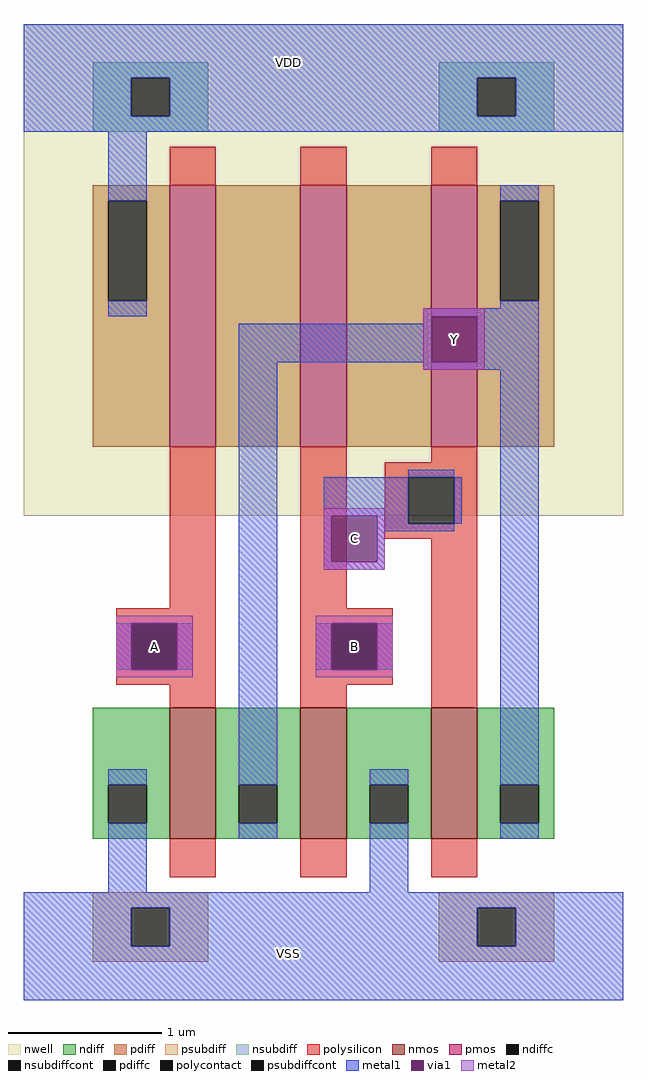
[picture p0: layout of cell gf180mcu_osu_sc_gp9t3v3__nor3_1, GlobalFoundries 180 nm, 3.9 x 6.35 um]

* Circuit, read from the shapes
.subckt gf180mcu_osu_sc_gp9t3v3__nor3_1 A B C VDD Y VSS
XM1 Y A VSS VSS nfet_03v3 w=0.85u l=0.3u
XM2 VSS B Y VSS nfet_03v3 w=0.85u l=0.3u
XM3 Y C VSS VSS nfet_03v3 w=0.85u l=0.3u
XM4 n1 A VDD VDD pfet_03v3 w=1.7u l=0.3u
XM5 n2 B n1 VDD pfet_03v3 w=1.7u l=0.3u
XM6 Y C n2 VDD pfet_03v3 w=1.7u l=0.3u
.ends

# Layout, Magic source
magic
tech gf180mcuD
<< nwell >>
rect 114 63 192 127
<< nmos >>
rect 133 21 139 38
rect 150 21 156 38
rect 167 21 173 38
<< pmos >>
rect 133 72 139 106
rect 150 72 156 106
rect 167 72 173 106
<< ndiff >>
rect 123 28 133 38
rect 123 23 125 28
rect 130 23 133 28
rect 123 21 133 23
rect 139 28 150 38
rect 139 23 142 28
rect 147 23 150 28
rect 139 21 150 23
rect 156 28 167 38
rect 156 23 159 28
rect 164 23 167 28
rect 156 21 167 23
rect 173 28 183 38
rect 173 23 176 28
rect 181 23 183 28
rect 173 21 183 23
<< pdiff >>
rect 123 104 133 106
rect 123 91 125 104
rect 130 91 133 104
rect 123 72 133 91
rect 139 72 150 106
rect 156 72 167 106
rect 173 104 183 106
rect 173 91 176 104
rect 181 91 183 104
rect 173 72 183 91
<< ndiffc >>
rect 125 23 130 28
rect 142 23 147 28
rect 159 23 164 28
rect 176 23 181 28
<< pdiffc >>
rect 125 91 130 104
rect 176 91 181 104
<< psubdiff >>
rect 123 12 138 14
rect 123 7 128 12
rect 133 7 138 12
rect 123 5 138 7
rect 168 12 183 14
rect 168 7 173 12
rect 178 7 183 12
rect 168 5 183 7
<< nsubdiff >>
rect 123 120 138 122
rect 123 115 128 120
rect 133 115 138 120
rect 123 113 138 115
rect 168 120 183 122
rect 168 115 173 120
rect 178 115 183 120
rect 168 113 183 115
<< psubdiffcont >>
rect 128 7 133 12
rect 173 7 178 12
<< nsubdiffcont >>
rect 128 115 133 120
rect 173 115 178 120
<< polysilicon >>
rect 133 106 139 111
rect 150 106 156 111
rect 167 106 173 111
rect 133 51 139 72
rect 126 49 139 51
rect 126 43 128 49
rect 134 43 139 49
rect 126 41 139 43
rect 133 38 139 41
rect 150 51 156 72
rect 167 70 173 72
rect 161 68 173 70
rect 161 62 164 68
rect 170 62 173 68
rect 161 60 173 62
rect 150 49 162 51
rect 150 43 154 49
rect 160 43 162 49
rect 150 41 162 43
rect 150 38 156 41
rect 167 38 173 60
rect 133 16 139 21
rect 150 16 156 21
rect 167 16 173 21
<< polycontact >>
rect 128 43 134 49
rect 164 62 170 68
rect 154 43 160 49
<< metal1 >>
rect 114 120 192 127
rect 114 115 128 120
rect 133 115 173 120
rect 178 115 192 120
rect 114 113 192 115
rect 125 104 130 113
rect 125 89 130 91
rect 176 104 181 106
rect 176 90 181 91
rect 166 89 181 90
rect 166 88 167 89
rect 142 83 167 88
rect 173 83 181 89
rect 126 43 128 49
rect 134 43 136 49
rect 125 28 130 30
rect 125 14 130 23
rect 142 28 147 83
rect 166 82 181 83
rect 164 68 170 69
rect 153 63 164 68
rect 153 57 154 63
rect 160 62 164 63
rect 170 62 171 68
rect 160 61 170 62
rect 160 57 161 61
rect 153 56 161 57
rect 152 43 154 49
rect 160 43 162 49
rect 142 21 147 23
rect 159 28 164 30
rect 159 14 164 23
rect 176 28 181 82
rect 176 21 181 23
rect 114 12 192 14
rect 114 7 128 12
rect 133 7 173 12
rect 178 7 192 12
rect 114 0 192 7
<< via1 >>
rect 167 83 173 89
rect 128 43 134 49
rect 154 57 160 63
rect 154 43 160 49
<< metal2 >>
rect 166 89 174 90
rect 166 83 167 89
rect 173 83 174 89
rect 166 82 174 83
rect 153 63 161 64
rect 153 57 154 63
rect 160 57 161 63
rect 153 56 161 57
rect 126 49 136 50
rect 126 43 128 49
rect 134 43 136 49
rect 126 42 136 43
rect 152 49 162 50
rect 152 43 154 49
rect 160 43 162 49
rect 152 42 162 43
<< labels >>
flabel metal2 152 42 162 50 0 FreeSans 48 0 0 0 B
port 2 nsew
flabel metal1 139 118 158 126 0 FreeSans 48 0 0 0 VDD
port 4 nsew
flabel metal1 139 2 158 10 0 FreeSans 48 0 0 0 VSS
port 6 nsew
flabel metal2 126 42 136 50 0 FreeSans 48 0 0 0 A
port 1 nsew
flabel metal2 153 56 161 64 0 FreeSans 48 0 0 0 C
port 3 nsew
flabel metal2 166 82 174 90 0 FreeSans 48 0 0 0 Y
port 5 nsew
<< properties >>
string FIXED_BBOX 114 0 192 127
<< end >>
